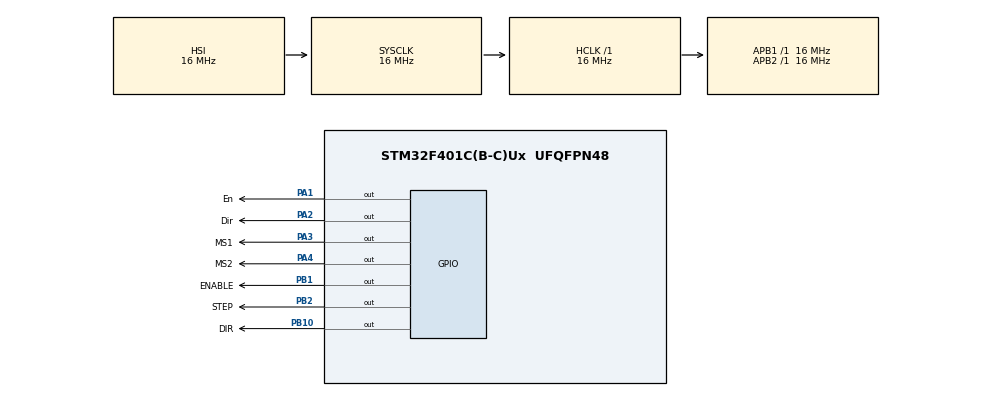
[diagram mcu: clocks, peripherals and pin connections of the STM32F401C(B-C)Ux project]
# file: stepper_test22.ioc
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Mcu.Family=STM32F4
Mcu.Name=STM32F401C(B-C)Ux
Mcu.Package=UFQFPN48
NVIC.PriorityGroup=NVIC_PRIORITYGROUP_4
PA1.GPIO_Label=En
PA1.Signal=GPIO_Output
PA2.GPIO_Label=Dir
PA2.Signal=GPIO_Output
PA3.GPIO_Label=MS1
PA3.PinState=GPIO_PIN_SET
PA3.Signal=GPIO_Output
PA4.GPIO_Label=MS2
PA4.PinState=GPIO_PIN_SET
PA4.Signal=GPIO_Output
PB1.GPIO_Label=ENABLE
PB1.PinState=GPIO_PIN_SET
PB1.Signal=GPIO_Output
PB10.GPIO_Label=DIR
PB10.Signal=GPIO_Output
PB2.GPIO_Label=STEP
PB2.Signal=GPIO_Output
ProjectManager.HeapSize=0x200
ProjectManager.StackSize=0x400
ProjectManager.TargetToolchain=STM32CubeIDE
RCC.AHBFreq_Value=16000000
RCC.APB1Freq_Value=16000000
RCC.APB2Freq_Value=16000000
RCC.CortexFreq_Value=16000000
RCC.HSE_VALUE=25000000
RCC.HSI_VALUE=16000000
RCC.LSE_VALUE=32768
RCC.SYSCLKFreq_VALUE=16000000
RCC.VCOOutputFreq_Value=192000000
board=custom

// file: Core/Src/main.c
/* USER CODE BEGIN Header */
/**
  ******************************************************************************
  * @file           : main.c
  * @brief          : Main program body
  ******************************************************************************
  * @attention
  *
  * Copyright (c) 2026 STMicroelectronics.
  * All rights reserved.
  *
  * This software is licensed under terms that can be found in the LICENSE file
  * in the root directory of this software component.
  * If no LICENSE file comes with this software, it is provided AS-IS.
  *
  ******************************************************************************
  */
/* USER CODE END Header */
#include "main.h"

void SystemClock_Config(void);
static void MX_GPIO_Init(void);

int main(void)
{

  /* MCU Configuration--------------------------------------------------------*/

  /* Reset of all peripherals, Initializes the Flash interface and the Systick. */
  HAL_Init();

  /* Configure the system clock */
  SystemClock_Config();

  /* Initialize all configured peripherals */
  MX_GPIO_Init();
  /* USER CODE BEGIN 2 */

  Stepper_Disable();

  HAL_Delay(100);

//  Set_Microstepping(MICROSTEP_SIXTEENTH);  // Most precise
//  HAL_Delay(10);
  // Enable driver (LOW = Enable for A4988/DRV8825)
//  HAL_GPIO_WritePin(En_GPIO_Port, En_Pin, GPIO_PIN_RESET);

  // Set microstepping (Full Step)
  HAL_GPIO_WritePin(MS1_GPIO_Port, MS1_Pin, GPIO_PIN_SET);
  HAL_GPIO_WritePin(MS2_GPIO_Port, MS2_Pin, GPIO_PIN_SET);

  // Start STEP pulses
//  HAL_TIM_PWM_Start(&htim2, TIM_CHANNEL_1);

//  HAL_GPIO_WritePin(DIR_GPIO_Port, DIR_Pin, GPIO_PIN_SET);
//  HAL_Delay(1000);
//
//  HAL_GPIO_WritePin(DIR_GPIO_Port, DIR_Pin, GPIO_PIN_RESET);
  /* USER CODE END 2 */

  /* Infinite loop */
  /* USER CODE BEGIN WHILE */
  while (1)
  {
      // Enable motor before moving
      // Enable motor before moving
      Stepper_Enable();
      HAL_Delay(10);  // Small delay for driver to settle

      // Move forward (clockwise) for 5 seconds at 1000 Hz
      Move_Stepper(POSITIVE, 5000, 1000);

//      Stepper_Disable();

      // Rest for 3 seconds
      HAL_Delay(3000);

//      // Move backward (counter-clockwise) for 5 seconds at 1000 Hz
//      Move_Stepper(NEGATIVE, 5000, 1000);
//
//      // Disable motor after movement to save power
//      Stepper_Disable();
//
//      // Rest for 3 seconds before next cycle
//      HAL_Delay(3000);

    /* USER CODE END WHILE */

  }
}

void SystemClock_Config(void)
{
  RCC_OscInitTypeDef RCC_OscInitStruct = {0};
  RCC_ClkInitTypeDef RCC_ClkInitStruct = {0};

  /** Configure the main internal regulator output voltage
  */
  __HAL_RCC_PWR_CLK_ENABLE();
  __HAL_PWR_VOLTAGESCALING_CONFIG(PWR_REGULATOR_VOLTAGE_SCALE2);

  /** Initializes the RCC Oscillators according to the specified parameters
  * in the RCC_OscInitTypeDef structure.
  */
  RCC_OscInitStruct.OscillatorType = RCC_OSCILLATORTYPE_HSI;
  RCC_OscInitStruct.HSIState = RCC_HSI_ON;
  RCC_OscInitStruct.HSICalibrationValue = RCC_HSICALIBRATION_DEFAULT;
  RCC_OscInitStruct.PLL.PLLState = RCC_PLL_NONE;
  if (HAL_RCC_OscConfig(&RCC_OscInitStruct) != HAL_OK)
  {
    Error_Handler();
  }

  /** Initializes the CPU, AHB and APB buses clocks
  */
  RCC_ClkInitStruct.ClockType = RCC_CLOCKTYPE_HCLK|RCC_CLOCKTYPE_SYSCLK
                              |RCC_CLOCKTYPE_PCLK1|RCC_CLOCKTYPE_PCLK2;
  RCC_ClkInitStruct.SYSCLKSource = RCC_SYSCLKSOURCE_HSI;
  RCC_ClkInitStruct.AHBCLKDivider = RCC_SYSCLK_DIV1;
  RCC_ClkInitStruct.APB1CLKDivider = RCC_HCLK_DIV1;
  RCC_ClkInitStruct.APB2CLKDivider = RCC_HCLK_DIV1;

  if (HAL_RCC_ClockConfig(&RCC_ClkInitStruct, FLASH_LATENCY_0) != HAL_OK)
  {
    Error_Handler();
  }
}

static void MX_GPIO_Init(void)
{
  GPIO_InitTypeDef GPIO_InitStruct = {0};

  /* GPIO Ports Clock Enable */
  __HAL_RCC_GPIOA_CLK_ENABLE();
  __HAL_RCC_GPIOB_CLK_ENABLE();

  /*Configure GPIO pin Output Level */
  HAL_GPIO_WritePin(GPIOA, En_Pin|Dir_Pin, GPIO_PIN_RESET);

  /*Configure GPIO pin Output Level */
  HAL_GPIO_WritePin(GPIOA, MS1_Pin|MS2_Pin, GPIO_PIN_SET);

  /*Configure GPIO pin Output Level */
  HAL_GPIO_WritePin(ENABLE_GPIO_Port, ENABLE_Pin, GPIO_PIN_SET);

  /*Configure GPIO pin Output Level */
  HAL_GPIO_WritePin(GPIOB, STEP_Pin|DIR_Pin, GPIO_PIN_RESET);

  /*Configure GPIO pins : En_Pin Dir_Pin MS1_Pin MS2_Pin */
  GPIO_InitStruct.Pin = En_Pin|Dir_Pin|MS1_Pin|MS2_Pin;
  GPIO_InitStruct.Mode = GPIO_MODE_OUTPUT_PP;
  GPIO_InitStruct.Pull = GPIO_NOPULL;
  GPIO_InitStruct.Speed = GPIO_SPEED_FREQ_LOW;
  HAL_GPIO_Init(GPIOA, &GPIO_InitStruct);

  /*Configure GPIO pins : ENABLE_Pin STEP_Pin DIR_Pin */
  GPIO_InitStruct.Pin = ENABLE_Pin|STEP_Pin|DIR_Pin;
  GPIO_InitStruct.Mode = GPIO_MODE_OUTPUT_PP;
  GPIO_InitStruct.Pull = GPIO_NOPULL;
  GPIO_InitStruct.Speed = GPIO_SPEED_FREQ_LOW;
  HAL_GPIO_Init(GPIOB, &GPIO_InitStruct);

  /* USER CODE BEGIN MX_GPIO_Init_2 */
  HAL_GPIO_WritePin(GPIOA, MS1_Pin|MS2_Pin, GPIO_PIN_SET);

  /* USER CODE END MX_GPIO_Init_2 */
}

/* USER CODE BEGIN 4 */

void Move_Stepper(StepperDirection_t dir,
                  uint32_t duration_ms,
                  uint32_t step_frequency)
{
    uint32_t timer_clk = 16000000;      // HSI = 16 MHz

    uint32_t prescaler = 15;            // Timer clock = 1 MHz
    uint32_t timer_freq = timer_clk / (prescaler + 1);

    uint32_t arr = (timer_freq / step_frequency) - 1;

    if(arr > 0xFFFF)
        arr = 0xFFFF;

    __HAL_TIM_SET_PRESCALER(&htim2, prescaler);

    __HAL_TIM_SET_AUTORELOAD(&htim2, arr);

    __HAL_TIM_SET_COMPARE(&htim2,
                          TIM_CHANNEL_1,
                          (arr + 1)/2);     // 50% duty

    HAL_TIM_GenerateEvent(&htim2, TIM_EVENTSOURCE_UPDATE);

    HAL_TIM_PWM_Stop(&htim2, TIM_CHANNEL_1);

    HAL_GPIO_WritePin(Dir_GPIO_Port,
                      Dir_Pin,
                      (GPIO_PinState)dir);

    HAL_Delay(1);

    HAL_TIM_PWM_Start(&htim2, TIM_CHANNEL_1);

    HAL_Delay(duration_ms);

    HAL_TIM_PWM_Stop(&htim2, TIM_CHANNEL_1);
}

void Stepper_Enable(void)
{
    // EN is Active LOW on A4988/DRV8825/TMC2208
    HAL_GPIO_WritePin(En_GPIO_Port, En_Pin, GPIO_PIN_RESET);
}

void Stepper_Disable(void)
{
    // EN is Inactive HIGH
    HAL_GPIO_WritePin(En_GPIO_Port, En_Pin, GPIO_PIN_SET);
}

//void Set_Microstepping(MicrostepMode_t mode)
//{
//    // MS1 and MS2 control microstepping on most drivers
//    // MS2 | MS1 | Microstepping
//    //  L  |  L  | Full step
//    //  L  |  H  | Half step
//    //  H  |  L  | Quarter step (A4988) / 1/8 (DRV8825)
//    //  H  |  H  | 1/16 (A4988) / 1/32 (DRV8825)
//
//    GPIO_PinState ms1_state;
//    GPIO_PinState ms2_state;
//
//    switch(mode) {
//        case MICROSTEP_FULL:
//            ms1_state = GPIO_PIN_RESET;
//            ms2_state = GPIO_PIN_RESET;
//            break;
//        case MICROSTEP_HALF:
//            ms1_state = GPIO_PIN_SET;
//            ms2_state = GPIO_PIN_RESET;
//            break;
//        case MICROSTEP_QUARTER:
//            ms1_state = GPIO_PIN_RESET;
//            ms2_state = GPIO_PIN_SET;
//            break;
//        case MICROSTEP_EIGHTH:
//        case MICROSTEP_SIXTEENTH:
//        default:
//            ms1_state = GPIO_PIN_SET;
//            ms2_state = GPIO_PIN_SET;
//            break;
//    }
//
//    HAL_GPIO_WritePin(MS1_GPIO_Port, MS1_Pin, ms1_state);
//    HAL_GPIO_WritePin(MS2_GPIO_Port, MS2_Pin, ms2_state);
//}
/* USER CODE END 4 */

void Error_Handler(void)
{
  __disable_irq();
  while (1)
  {
  }
}
